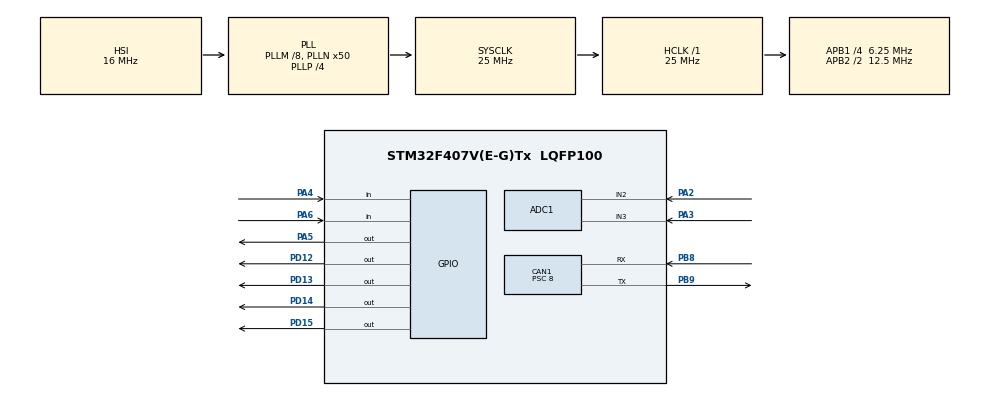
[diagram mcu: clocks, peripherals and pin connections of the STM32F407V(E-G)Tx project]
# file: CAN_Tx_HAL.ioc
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ADC1.Channel-1\#ChannelRegularConversion=ADC_CHANNEL_2
ADC1.NbrOfConversion=1
ADC1.NbrOfConversionFlag=1
ADC1.Rank-1\#ChannelRegularConversion=1
ADC1.SamplingTime-1\#ChannelRegularConversion=ADC_SAMPLETIME_3CYCLES
ADC1.master=1
CAN1.BS1=CAN_BS1_13TQ
CAN1.BS2=CAN_BS2_2TQ
CAN1.CalculateBaudRate=48828
CAN1.CalculateTimeBit=20480
CAN1.CalculateTimeQuantum=1280.0
CAN1.Prescaler=8
Mcu.Family=STM32F4
Mcu.Name=STM32F407V(E-G)Tx
Mcu.Package=LQFP100
NVIC.PriorityGroup=NVIC_PRIORITYGROUP_0
PA2.Signal=ADCx_IN2
PA3.Signal=ADCx_IN3
PA4.GPIO_PuPd=GPIO_NOPULL
PA4.Signal=GPIO_Input
PA5.Signal=GPIO_Output
PA6.Signal=GPIO_Input
PB8.Mode=CAN_Activate
PB8.Signal=CAN1_RX
PB9.Mode=CAN_Activate
PB9.Signal=CAN1_TX
PD12.Signal=GPIO_Output
PD13.Signal=GPIO_Output
PD14.Signal=GPIO_Output
PD15.Signal=GPIO_Output
ProjectManager.HeapSize=0x200
ProjectManager.StackSize=0x400
ProjectManager.TargetToolchain=STM32CubeIDE
RCC.48MHZClocksFreq_Value=14285714.285714285
RCC.AHBFreq_Value=25000000
RCC.APB1CLKDivider=RCC_HCLK_DIV4
RCC.APB1Freq_Value=6250000
RCC.APB1TimFreq_Value=12500000
RCC.APB2CLKDivider=RCC_HCLK_DIV2
RCC.APB2Freq_Value=12500000
RCC.APB2TimFreq_Value=25000000
RCC.CortexFreq_Value=25000000
RCC.HCLKFreq_Value=25000000
RCC.HSE_VALUE=8000000
RCC.HSI_VALUE=16000000
RCC.LSE_VALUE=32768
RCC.PLLM=8
RCC.PLLN=50
RCC.PLLP=RCC_PLLP_DIV4
RCC.PLLQ=7
RCC.SYSCLKFreq_VALUE=25000000
RCC.SYSCLKSource=RCC_SYSCLKSOURCE_PLLCLK
RCC.VCOOutputFreq_Value=100000000
SH.ADCx_IN2.0=ADC1_IN2,IN2
SH.ADCx_IN3.0=ADC1_IN3,IN3
board=STM32F407G-DISC1

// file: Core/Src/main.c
/* USER CODE BEGIN Header */
/**
  ******************************************************************************
  * @file           : main.c
  * @brief          : Main program body
  ******************************************************************************
  * @attention
  *
  * Copyright (c) 2026 STMicroelectronics.
  * All rights reserved.
  *
  * This software is licensed under terms that can be found in the LICENSE file
  * in the root directory of this software component.
  * If no LICENSE file comes with this software, it is provided AS-IS.
  *
  ******************************************************************************
  */
/* USER CODE END Header */
#include "main.h"

ADC_HandleTypeDef hadc1;

CAN_HandleTypeDef hcan1;

/* USER CODE BEGIN PV */

CAN_TxHeaderTypeDef TxHeader;
uint8_t TxData[8];
uint32_t Txmailbox;
uint16_t vibration_value;
uint8_t  ir_value;
uint16_t ultra_value;
uint32_t echo_time;
/* USER CODE END PV */

void SystemClock_Config(void);
static void MX_GPIO_Init(void);
static void MX_ADC1_Init(void);
static void MX_CAN1_Init(void);

/* USER CODE BEGIN 0 */
void delay_us(uint32_t us)
{
    uint32_t start = DWT->CYCCNT;
    uint32_t ticks = us * (SystemCoreClock / 1000000);

    while ((DWT->CYCCNT - start) < ticks);
}

void DWT_Init(void)
{
    CoreDebug->DEMCR |= CoreDebug_DEMCR_TRCENA_Msk;
    DWT->CYCCNT = 0;
    DWT->CTRL |= DWT_CTRL_CYCCNTENA_Msk;
}

uint16_t Ultrasonic_Read(void)
{	uint32_t timeout;
    HAL_GPIO_WritePin(GPIOA, GPIO_PIN_5, GPIO_PIN_RESET);
    delay_us(2);
    HAL_GPIO_WritePin(GPIOA, GPIO_PIN_5, GPIO_PIN_SET);
    delay_us(10);
    HAL_GPIO_WritePin(GPIOA, GPIO_PIN_5, GPIO_PIN_RESET);
    timeout = 30000;
    while (HAL_GPIO_ReadPin(GPIOA, GPIO_PIN_6) == GPIO_PIN_RESET)
    {
    	        if (--timeout == 0) return 0;  // no echo
    }
    uint32_t start = DWT->CYCCNT;

    timeout = 30000;
    while (HAL_GPIO_ReadPin(GPIOA, GPIO_PIN_6) == GPIO_PIN_SET)
    {
        if (--timeout == 0) return 0;
    }
    uint32_t stop = DWT->CYCCNT;

    echo_time = (stop - start) / (SystemCoreClock / 1000000);
    return (uint16_t)(echo_time / 58);   // distance in cm
}

uint16_t Read_adc_channel(uint32_t channel)
{
	ADC_ChannelConfTypeDef config ={0};
	config.Channel=channel;
	config.Rank=1;
	config.SamplingTime=ADC_SAMPLETIME_3CYCLES;
	HAL_ADC_ConfigChannel(&hadc1, &config);
	HAL_ADC_Start(&hadc1);
	HAL_ADC_PollForConversion(&hadc1, 100);
	uint16_t value = HAL_ADC_GetValue(&hadc1);
	HAL_ADC_Stop(&hadc1);
	return value;
}

void CAN_Send(uint16_t stdid,uint16_t data)
{
	TxHeader.StdId=stdid;
	TxHeader.IDE=CAN_ID_STD;
	TxHeader.RTR=CAN_RTR_DATA;
	TxHeader.DLC=2;
	TxData[0]=(data>>8) & 0xFF;
	TxData[1]=data & 0xFF;
	if(HAL_CAN_GetTxMailboxesFreeLevel(&hcan1)>0)
	{
		HAL_CAN_AddTxMessage(&hcan1, &TxHeader, TxData, &Txmailbox);
	}
}

void CAN_Sendir(uint16_t stdid,uint16_t data)
{
	TxHeader.StdId=stdid;
	TxHeader.IDE=CAN_ID_STD;
	TxHeader.RTR=CAN_RTR_DATA;
	TxHeader.DLC=1;

	TxData[0]=data & 0x01;

	if(HAL_CAN_GetTxMailboxesFreeLevel(&hcan1)>0)
	{
		HAL_CAN_AddTxMessage(&hcan1, &TxHeader, TxData, &Txmailbox);
	}
}

/* USER CODE END 0 */

int main(void)
{

  /* MCU Configuration--------------------------------------------------------*/

  /* Reset of all peripherals, Initializes the Flash interface and the Systick. */
  HAL_Init();
  DWT_Init();

  /* Configure the system clock */
  SystemClock_Config();

  /* Initialize all configured peripherals */
  MX_GPIO_Init();
  MX_ADC1_Init();
  MX_CAN1_Init();
  /* USER CODE BEGIN 2 */
  HAL_CAN_Start(&hcan1);
  //HAL_CAN_ActivateNotification(&hcan1, CAN_IT_TX_MAILBOX_EMPTY );

  /* USER CODE END 2 */

  /* Infinite loop */
  /* USER CODE BEGIN WHILE */
  while (1)
  {

	  //vibration_value = Read_adc_channel(ADC_CHANNEL_2);
	  ultra_value=Ultrasonic_Read();
	  CAN_Send(0x123, ultra_value);
	  HAL_Delay(10);
	  ir_value = HAL_GPIO_ReadPin(GPIOA, GPIO_PIN_4);
	  CAN_Sendir(0x125, ir_value);
	  HAL_Delay(100);
    /* USER CODE END WHILE */

  }
}

void SystemClock_Config(void)
{
  RCC_OscInitTypeDef RCC_OscInitStruct = {0};
  RCC_ClkInitTypeDef RCC_ClkInitStruct = {0};

  /** Configure the main internal regulator output voltage
  */
  __HAL_RCC_PWR_CLK_ENABLE();
  __HAL_PWR_VOLTAGESCALING_CONFIG(PWR_REGULATOR_VOLTAGE_SCALE1);

  /** Initializes the RCC Oscillators according to the specified parameters
  * in the RCC_OscInitTypeDef structure.
  */
  RCC_OscInitStruct.OscillatorType = RCC_OSCILLATORTYPE_HSI;
  RCC_OscInitStruct.HSIState = RCC_HSI_ON;
  RCC_OscInitStruct.HSICalibrationValue = RCC_HSICALIBRATION_DEFAULT;
  RCC_OscInitStruct.PLL.PLLState = RCC_PLL_ON;
  RCC_OscInitStruct.PLL.PLLSource = RCC_PLLSOURCE_HSI;
  RCC_OscInitStruct.PLL.PLLM = 8;
  RCC_OscInitStruct.PLL.PLLN = 50;
  RCC_OscInitStruct.PLL.PLLP = RCC_PLLP_DIV4;
  RCC_OscInitStruct.PLL.PLLQ = 7;
  if (HAL_RCC_OscConfig(&RCC_OscInitStruct) != HAL_OK)
  {
    Error_Handler();
  }

  /** Initializes the CPU, AHB and APB buses clocks
  */
  RCC_ClkInitStruct.ClockType = RCC_CLOCKTYPE_HCLK|RCC_CLOCKTYPE_SYSCLK
                              |RCC_CLOCKTYPE_PCLK1|RCC_CLOCKTYPE_PCLK2;
  RCC_ClkInitStruct.SYSCLKSource = RCC_SYSCLKSOURCE_PLLCLK;
  RCC_ClkInitStruct.AHBCLKDivider = RCC_SYSCLK_DIV1;
  RCC_ClkInitStruct.APB1CLKDivider = RCC_HCLK_DIV4;
  RCC_ClkInitStruct.APB2CLKDivider = RCC_HCLK_DIV2;

  if (HAL_RCC_ClockConfig(&RCC_ClkInitStruct, FLASH_LATENCY_0) != HAL_OK)
  {
    Error_Handler();
  }
}

static void MX_ADC1_Init(void)
{

  ADC_ChannelConfTypeDef sConfig = {0};

  /** Configure the global features of the ADC (Clock, Resolution, Data Alignment and number of conversion)
  */
  hadc1.Instance = ADC1;
  hadc1.Init.ClockPrescaler = ADC_CLOCK_SYNC_PCLK_DIV2;
  hadc1.Init.Resolution = ADC_RESOLUTION_12B;
  hadc1.Init.ScanConvMode = DISABLE;
  hadc1.Init.ContinuousConvMode = DISABLE;
  hadc1.Init.DiscontinuousConvMode = DISABLE;
  hadc1.Init.ExternalTrigConvEdge = ADC_EXTERNALTRIGCONVEDGE_NONE;
  hadc1.Init.ExternalTrigConv = ADC_SOFTWARE_START;
  hadc1.Init.DataAlign = ADC_DATAALIGN_RIGHT;
  hadc1.Init.NbrOfConversion = 1;
  hadc1.Init.DMAContinuousRequests = DISABLE;
  hadc1.Init.EOCSelection = ADC_EOC_SINGLE_CONV;
  if (HAL_ADC_Init(&hadc1) != HAL_OK)
  {
    Error_Handler();
  }

  /** Configure for the selected ADC regular channel its corresponding rank in the sequencer and its sample time.
  */
  sConfig.Channel = ADC_CHANNEL_2;
  sConfig.Rank = 1;
  sConfig.SamplingTime = ADC_SAMPLETIME_3CYCLES;
  if (HAL_ADC_ConfigChannel(&hadc1, &sConfig) != HAL_OK)
  {
    Error_Handler();
  }

}

static void MX_CAN1_Init(void)
{

  hcan1.Instance = CAN1;
  hcan1.Init.Prescaler = 8;
  hcan1.Init.Mode = CAN_MODE_NORMAL;
  hcan1.Init.SyncJumpWidth = CAN_SJW_1TQ;
  hcan1.Init.TimeSeg1 = CAN_BS1_13TQ;
  hcan1.Init.TimeSeg2 = CAN_BS2_2TQ;
  hcan1.Init.TimeTriggeredMode = DISABLE;
  hcan1.Init.AutoBusOff = DISABLE;
  hcan1.Init.AutoWakeUp = DISABLE;
  hcan1.Init.AutoRetransmission = DISABLE;
  hcan1.Init.ReceiveFifoLocked = DISABLE;
  hcan1.Init.TransmitFifoPriority = DISABLE;
  if (HAL_CAN_Init(&hcan1) != HAL_OK)
  {
    Error_Handler();
  }

}

static void MX_GPIO_Init(void)
{
  GPIO_InitTypeDef GPIO_InitStruct = {0};

  /* GPIO Ports Clock Enable */
  __HAL_RCC_GPIOA_CLK_ENABLE();
  __HAL_RCC_GPIOD_CLK_ENABLE();
  __HAL_RCC_GPIOB_CLK_ENABLE();

  /*Configure GPIO pin Output Level */
  HAL_GPIO_WritePin(GPIOA, GPIO_PIN_5, GPIO_PIN_RESET);

  /*Configure GPIO pin Output Level */
  HAL_GPIO_WritePin(GPIOD, GPIO_PIN_12|GPIO_PIN_13|GPIO_PIN_14|GPIO_PIN_15, GPIO_PIN_RESET);

  /*Configure GPIO pins : PA4 PA6 */
  GPIO_InitStruct.Pin = GPIO_PIN_4|GPIO_PIN_6;
  GPIO_InitStruct.Mode = GPIO_MODE_INPUT;
  GPIO_InitStruct.Pull = GPIO_NOPULL;
  HAL_GPIO_Init(GPIOA, &GPIO_InitStruct);

  /*Configure GPIO pin : PA5 */
  GPIO_InitStruct.Pin = GPIO_PIN_5;
  GPIO_InitStruct.Mode = GPIO_MODE_OUTPUT_PP;
  GPIO_InitStruct.Pull = GPIO_NOPULL;
  GPIO_InitStruct.Speed = GPIO_SPEED_FREQ_LOW;
  HAL_GPIO_Init(GPIOA, &GPIO_InitStruct);

  /*Configure GPIO pins : PD12 PD13 PD14 PD15 */
  GPIO_InitStruct.Pin = GPIO_PIN_12|GPIO_PIN_13|GPIO_PIN_14|GPIO_PIN_15;
  GPIO_InitStruct.Mode = GPIO_MODE_OUTPUT_PP;
  GPIO_InitStruct.Pull = GPIO_NOPULL;
  GPIO_InitStruct.Speed = GPIO_SPEED_FREQ_LOW;
  HAL_GPIO_Init(GPIOD, &GPIO_InitStruct);

}

void Error_Handler(void)
{
  __disable_irq();
  while (1)
  {
  }
}
